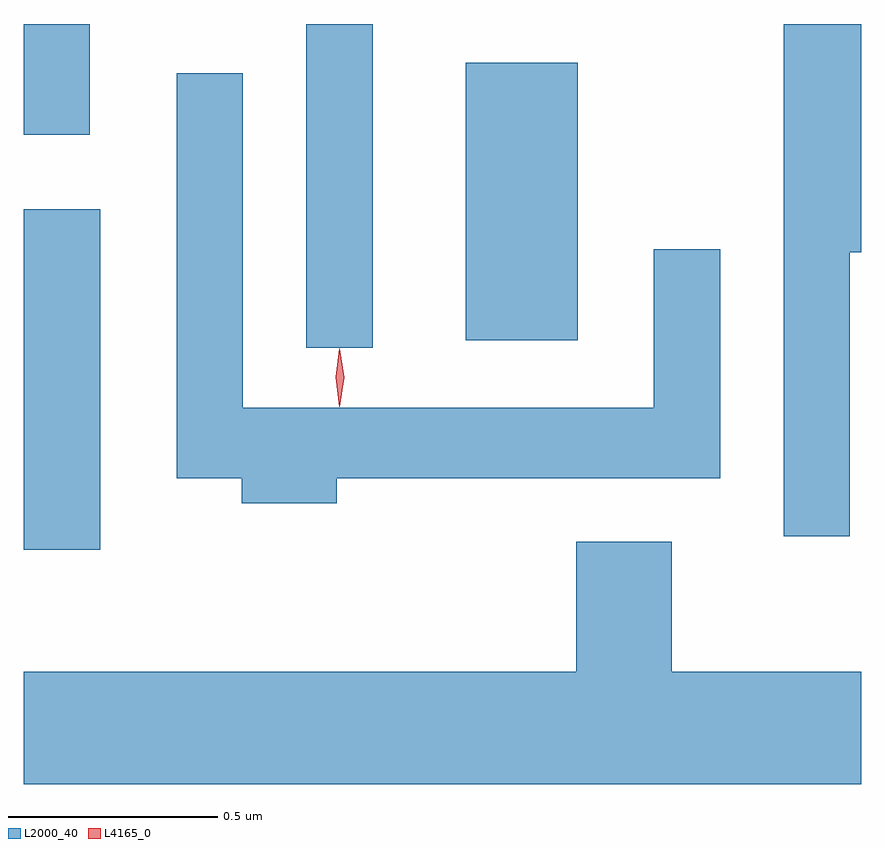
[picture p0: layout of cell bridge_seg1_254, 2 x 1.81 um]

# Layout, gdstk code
import gdstk
lib = gdstk.Library(unit=1e-6, precision=1e-09)
def R(c, l, rs):  # rectangles x0, y0, x1, y1
    for r in rs: c.add(gdstk.rectangle(r[:2], r[2:], *l))
def P(c, l, *ps):  # polygons
    for p in ps: c.add(gdstk.Polygon(p, *l))
L2000_40 = (2000, 40)
L4165_0 = (4165, 0)

bridge_seg1_254 = lib.new_cell('bridge_seg1_254')
R(bridge_seg1_254, L2000_40, [(957.161,886.816,957.344,887.629), (957.836,887.298,957.994,888.071), (958.216,887.316,958.484,887.979), (957.161,887.806,957.319,888.071)])
P(bridge_seg1_254, L2000_40, [(959.134,887.526),(959.161,887.526),(959.161,888.071),(958.976,888.071),(958.976,886.848),(959.134,886.848)],
  [(957.909,886.986),(958.824,886.986),(958.824,887.533),(958.666,887.533),(958.666,887.154),(957.684,887.154),(957.684,887.953),(957.526,887.953),(957.526,886.986),(957.681,886.986),(957.681,886.926),(957.909,886.926)],
  [(959.161,886.524),(958.709,886.524),(958.709,886.834),(958.481,886.834),(958.481,886.524),(957.161,886.524),(957.161,886.256),(959.161,886.256)])
P(bridge_seg1_254, L4165_0, [(957.915,887.157),(957.906,887.227),(957.915,887.296),(957.916,887.296),(957.916,887.296),(957.926,887.227),(957.916,887.157),(957.916,887.157)],
  [(957.916,887.159),(957.915,887.16),(957.906,887.226),(957.915,887.292),(957.916,887.293),(957.916,887.292),(957.926,887.226),(957.916,887.16)])

lib.write_gds('bridge_seg1_254.gds')
